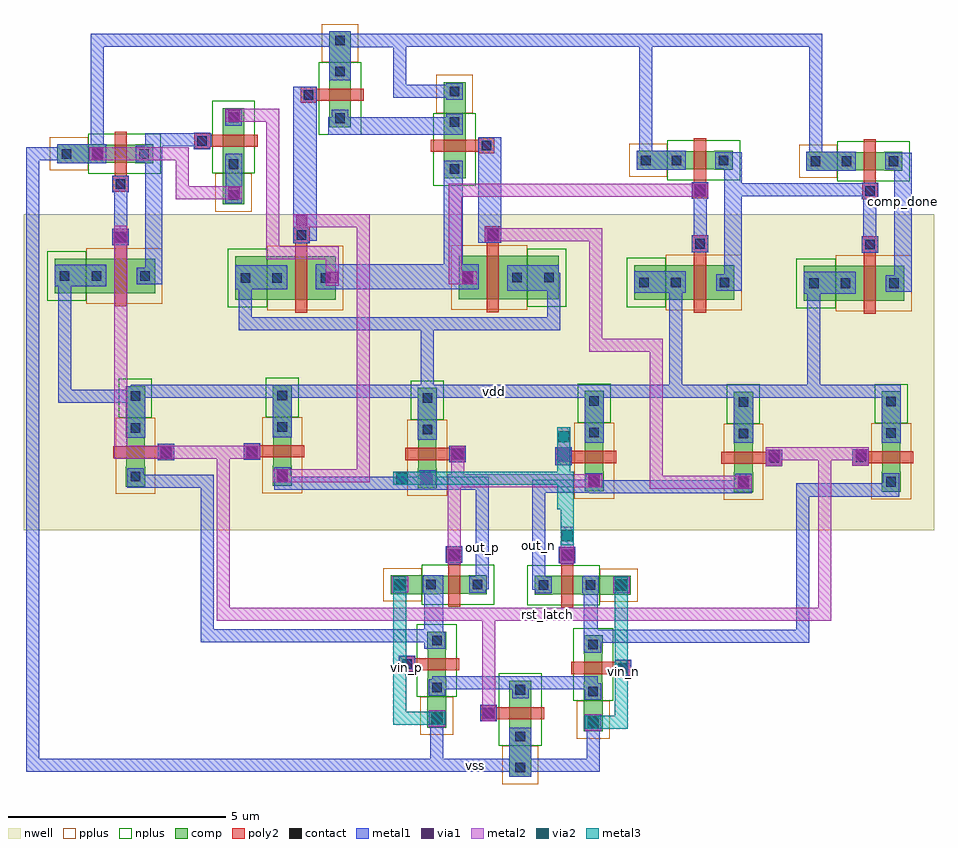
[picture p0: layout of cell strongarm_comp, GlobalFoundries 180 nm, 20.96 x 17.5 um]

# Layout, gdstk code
from math import pi, radians
import gdstk
lib = gdstk.Library(unit=1e-6, precision=5e-09)
def R(c, l, rs):  # rectangles x0, y0, x1, y1
    for r in rs: c.add(gdstk.rectangle(r[:2], r[2:], *l))
nwell = (21, 0)
comp = (22, 0)
poly2 = (30, 0)
pplus = (31, 0)
nplus = (32, 0)
contact = (33, 0)
metal1 = (34, 0)
via1 = (35, 0)
metal2 = (36, 0)
via2 = (38, 0)
metal3 = (42, 0)

comp_nfet_6 = lib.new_cell('comp_nfet$6')
R(comp_nfet_6, comp, [(-0.42,0,0,0.5), (0,0,0.66,0.5), (0.66,0,1.08,0.5), (1.08,0,1.79,0.5)])
R(comp_nfet_6, poly2, [(0.15,-0.66,0.51,-0.3), (0.19,-0.3,0.47,0.8)])
R(comp_nfet_6, pplus, [(1.08,-0.17,1.96,0.67)])
R(comp_nfet_6, nplus, [(-0.59,-0.24,1.08,0.74)])
R(comp_nfet_6, contact, [(0.22,-0.59,0.44,-0.37), (-0.32,0.14,-0.1,0.36), (0.76,0.14,0.98,0.36), (1.47,0.14,1.69,0.36)])
R(comp_nfet_6, metal1, [(0.14,-0.67,0.52,-0.29), (-0.4,0.06,-0.02,0.44), (0.68,0.06,1.06,0.44), (1.39,0.06,1.77,0.44)])

comp_pfet_1 = lib.new_cell('comp_pfet$1')
R(comp_pfet_1, nwell, [(-1.16,-0.71,2.55,1.13)])
R(comp_pfet_1, comp, [(-0.46,-0.01,0,0.43), (0.66,-0.01,1.12,0.43), (1.12,-0.01,1.85,0.43), (0,0,0.66,0.42)])
R(comp_pfet_1, poly2, [(0.14,-0.68,0.52,-0.3), (0.19,-0.3,0.47,0.72)])
R(comp_pfet_1, pplus, [(-0.63,-0.25,1.12,0.67)])
R(comp_pfet_1, nplus, [(1.12,-0.17,2.02,0.59)])
R(comp_pfet_1, contact, [(0.22,-0.6,0.44,-0.38), (-0.34,0.1,-0.12,0.32), (0.78,0.1,1,0.32), (1.51,0.1,1.73,0.32)])
R(comp_pfet_1, metal1, [(0.14,-0.68,0.52,-0.3), (-0.42,0.02,-0.04,0.4), (0.7,0.02,1.08,0.4), (1.43,0.02,1.81,0.4)])

comp_pfet = lib.new_cell('comp_pfet')
R(comp_pfet, nwell, [(-1.16,-0.71,2.55,1.13)])
R(comp_pfet, comp, [(-0.46,-0.01,0,0.43), (0.66,-0.01,1.12,0.43), (1.12,-0.01,1.85,0.43), (0,0,0.66,0.42)])
R(comp_pfet, poly2, [(0.19,-0.3,0.47,0.72), (0.14,0.72,0.52,1.1)])
R(comp_pfet, pplus, [(-0.63,-0.25,1.12,0.67)])
R(comp_pfet, nplus, [(1.12,-0.17,2.02,0.59)])
R(comp_pfet, contact, [(-0.34,0.1,-0.12,0.32), (0.78,0.1,1,0.32), (1.51,0.1,1.73,0.32), (0.22,0.8,0.44,1.02)])
R(comp_pfet, metal1, [(-0.42,0.02,-0.04,0.4), (0.7,0.02,1.08,0.4), (1.43,0.02,1.81,0.4), (0.14,0.72,0.52,1.1)])

comp_nfet = lib.new_cell('comp_nfet')
R(comp_nfet, comp, [(-0.42,0,0,0.5), (0,0,0.66,0.5), (0.66,0,1.08,0.5), (1.08,0,1.79,0.5)])
R(comp_nfet, poly2, [(0.15,-0.66,0.51,-0.3), (0.19,-0.3,0.47,0.8)])
R(comp_nfet, pplus, [(1.08,-0.17,1.96,0.67)])
R(comp_nfet, nplus, [(-0.59,-0.24,1.08,0.74)])
R(comp_nfet, contact, [(0.22,-0.59,0.44,-0.37), (-0.32,0.14,-0.1,0.36), (0.76,0.14,0.98,0.36), (1.47,0.14,1.69,0.36)])
R(comp_nfet, metal1, [(0.14,-0.67,0.52,-0.29), (-0.4,0.06,-0.02,0.44), (0.68,0.06,1.06,0.44), (1.39,0.06,1.77,0.44)])

comp_nfet_1 = lib.new_cell('comp_nfet$1')
R(comp_nfet_1, comp, [(-0.42,-0.01,0,0.43), (0.66,-0.01,1.08,0.43), (1.08,-0.01,1.79,0.43), (0,0,0.66,0.42)])
R(comp_nfet_1, poly2, [(0.19,-0.3,0.47,0.72), (0.15,0.72,0.51,1.08)])
R(comp_nfet_1, pplus, [(1.08,-0.17,1.96,0.59)])
R(comp_nfet_1, nplus, [(-0.59,-0.25,1.08,0.67)])
R(comp_nfet_1, contact, [(-0.32,0.1,-0.1,0.32), (0.76,0.1,0.98,0.32), (1.47,0.1,1.69,0.32), (0.22,0.79,0.44,1.01)])
R(comp_nfet_1, metal1, [(-0.4,0.02,-0.02,0.4), (0.68,0.02,1.06,0.4), (1.39,0.02,1.77,0.4), (0.14,0.71,0.52,1.09)])

comp_nfet_2 = lib.new_cell('comp_nfet$2')
R(comp_nfet_2, comp, [(-0.42,-0.01,0,0.43), (0.66,-0.01,1.08,0.43), (1.08,-0.01,1.79,0.43), (0,0,0.66,0.42)])
R(comp_nfet_2, poly2, [(0.15,-0.66,0.51,-0.3), (0.19,-0.3,0.47,0.72)])
R(comp_nfet_2, pplus, [(1.08,-0.17,1.96,0.59)])
R(comp_nfet_2, nplus, [(-0.59,-0.25,1.08,0.67)])
R(comp_nfet_2, contact, [(0.22,-0.59,0.44,-0.37), (-0.32,0.1,-0.1,0.32), (0.76,0.1,0.98,0.32), (1.47,0.1,1.69,0.32)])
R(comp_nfet_2, metal1, [(0.14,-0.67,0.52,-0.29), (-0.4,0.02,-0.02,0.4), (0.68,0.02,1.06,0.4), (1.39,0.02,1.77,0.4)])

comp_strongarm_comp_core = lib.new_cell('comp_strongarm_comp_core')
R(comp_strongarm_comp_core, metal1, [(-0.13,-2.89,0.37,-1.76), (1.58,0.01,1.9,1.74), (-2.09,0.05,-1.65,1.75), (0.93,4.61,1.31,4.69), (1.6,4.8,2.04,5.99), (5.04,4.8,5.48,5.99), (8.44,4.8,8.88,5.99), (-2.24,4.87,-1.8,6.06), (-8.95,4.91,-8.51,6.1), (-5.58,4.92,-5.14,6.11)])
R(comp_strongarm_comp_core, via1, [(1.67,-1.77,1.93,-1.51), (-1.93,-1.68,-1.67,-1.42), (-0.74,-1.56,-0.48,-1.3), (2.32,1.39,2.58,1.65), (-2.78,1.4,-2.52,1.66), (-1.53,2.08,-1.27,2.34), (1.07,2.08,1.33,2.34), (1.69,3.79,1.95,4.05), (-2.17,3.85,-1.91,4.11), (5.84,4.36,6.1,4.62), (7.84,4.39,8.1,4.65), (-1.45,4.41,-1.19,4.67), (0.99,4.42,1.25,4.68), (-8.17,4.45,-7.91,4.71), (-6.19,4.45,-5.93,4.71)])
R(comp_strongarm_comp_core, metal2, [(1.61,-1.83,1.99,-1.45), (-1.99,-1.74,-1.61,-1.36), (2.26,1.33,2.64,1.71), (-2.84,1.34,-2.46,1.72), (-2.8,3.83,-1.83,4.13), (5.77,4.26,6.15,4.53), (7.77,4.27,8.15,4.54)])
R(comp_strongarm_comp_core, via2, [(1.67,-1.77,1.93,-1.51), (-1.93,-1.68,-1.67,-1.42), (2.32,1.39,2.58,1.65), (-2.78,1.4,-2.52,1.66), (1.07,2.535,1.33,2.795), (-2.73,3.85,-2.47,4.11), (0.99,4.805,1.25,5.065)])
comp_strongarm_comp_core.add(gdstk.FlexPath([(-1.8,-1.44),(-1.8,-2.63),(1.8,-2.63),(1.8,-1.53),(1.8,-1.53),(1.8,-1.53)], 0.3, ends="flush", simple_path=True, layer=34, datatype=0))  # metal1
comp_strongarm_comp_core.add(gdstk.FlexPath([(1.93,3.8),(0.55,3.8),(0.55,1.41)], 0.3, ends="flush", simple_path=True, layer=34, datatype=0))  # metal1
comp_strongarm_comp_core.add(gdstk.FlexPath([(-2.21,3.86),(-0.75,3.86),(-0.75,1.42)], 0.3, ends="flush", simple_path=True, layer=34, datatype=0))  # metal1
comp_strongarm_comp_core.add(gdstk.FlexPath([(-1.91,-0.73),(1.91,-0.73)], 0.3, ends="flush", simple_path=True, layer=34, datatype=0))  # metal1
comp_strongarm_comp_core.add(gdstk.FlexPath([(-1.9,3.86),(-5.55,3.86)], 0.3, ends="flush", simple_path=True, layer=34, datatype=0))  # metal1
comp_strongarm_comp_core.add(gdstk.FlexPath([(5.45,3.78),(1.71,3.78)], 0.3, ends="flush", simple_path=True, layer=34, datatype=0))  # metal1
comp_strongarm_comp_core.add(gdstk.FlexPath([(-8.93,3.91),(-7.09,3.91),(-7.09,0.35),(-1.69,0.35)], 0.3, ends="flush", simple_path=True, layer=34, datatype=0))  # metal1
comp_strongarm_comp_core.add(gdstk.FlexPath([(8.85,3.71),(6.62,3.71),(6.62,0.34),(1.61,0.34)], 0.3, ends="flush", simple_path=True, layer=34, datatype=0))  # metal1
comp_strongarm_comp_core.add(gdstk.FlexPath([(-8.85,5.98),(8.88,5.98)], 0.3, ends="flush", simple_path=True, layer=34, datatype=0))  # metal1
comp_strongarm_comp_core.add(gdstk.FlexPath([(-1.4,2),(-1.4,3.92),(1.95,3.92),(2.01,3.92)], 0.3, ends="flush", simple_path=True, layer=36, datatype=0))  # metal2
comp_strongarm_comp_core.add(gdstk.FlexPath([(1.2,2),(1.2,2.86)], 0.3, ends="flush", simple_path=True, layer=36, datatype=0))  # metal2
comp_strongarm_comp_core.add(gdstk.FlexPath([(-1.32,4.73),(-1.32,3.8)], 0.3, ends="flush", simple_path=True, layer=36, datatype=0))  # metal2
comp_strongarm_comp_core.add(gdstk.FlexPath([(1.12,5.15),(1.12,4.36)], 0.3, ends="flush", simple_path=True, layer=36, datatype=0))  # metal2
comp_strongarm_comp_core.add(gdstk.FlexPath([(-8.23,4.58),(-5.87,4.58)], 0.3, ends="flush", simple_path=True, layer=36, datatype=0))  # metal2
comp_strongarm_comp_core.add(gdstk.FlexPath([(-0.61,-1.62),(-0.61,0.85),(-6.72,0.85),(-6.72,4.73)], 0.3, ends="flush", simple_path=True, layer=36, datatype=0))  # metal2
comp_strongarm_comp_core.add(gdstk.FlexPath([(5.77,4.54),(8.15,4.54)], 0.3, ends="flush", simple_path=True, layer=36, datatype=0))  # metal2
comp_strongarm_comp_core.add(gdstk.FlexPath([(-0.76,0.85),(7.13,0.85),(7.13,4.69),(7.13,4.69),(7.13,4.69)], 0.3, ends="flush", simple_path=True, layer=36, datatype=0))  # metal2
comp_strongarm_comp_core.add(gdstk.FlexPath([(1.2,2.44),(1.2,3.98),(-2.8,3.98)], 0.3, ends="flush", simple_path=True, layer=42, datatype=0))  # metal3
comp_strongarm_comp_core.add(gdstk.FlexPath([(1.12,5.15),(1.12,3.27)], 0.3, ends="flush", simple_path=True, layer=42, datatype=0))  # metal3
comp_strongarm_comp_core.add(gdstk.FlexPath([(-2.65,1.72),(-2.65,-1.55),(-1.61,-1.55)], 0.3, ends="flush", simple_path=True, layer=42, datatype=0))  # metal3
comp_strongarm_comp_core.add(gdstk.FlexPath([(2.45,1.71),(2.45,-1.64),(1.61,-1.64)], 0.3, ends="flush", simple_path=True, layer=42, datatype=0))  # metal3
comp_strongarm_comp_core.add(gdstk.Reference(comp_pfet_1, (-1.81,4.21), rotation=pi/2))
comp_strongarm_comp_core.add(gdstk.Reference(comp_pfet_1, (-8.53,4.25), rotation=pi/2))
comp_strongarm_comp_core.add(gdstk.Reference(comp_pfet_1, (5.47,4.12), rotation=pi/2))
comp_strongarm_comp_core.add(gdstk.Reference(comp_pfet, (2.03,4.14), rotation=pi/2))
comp_strongarm_comp_core.add(gdstk.Reference(comp_pfet, (-5.15,4.27), rotation=pi/2))
comp_strongarm_comp_core.add(gdstk.Reference(comp_pfet, (8.87,4.13), rotation=pi/2))
comp_strongarm_comp_core.add(gdstk.Reference(comp_nfet, (-0.13,-1.1), rotation=3*pi/2))
comp_strongarm_comp_core.add(gdstk.Reference(comp_nfet_1, (0.87,1.31)))
comp_strongarm_comp_core.add(gdstk.Reference(comp_nfet_1, (1.59,-0.06), rotation=3*pi/2))
comp_strongarm_comp_core.add(gdstk.Reference(comp_nfet_2, (-1.07,1.74), rotation=pi))
comp_strongarm_comp_core.add(gdstk.Reference(comp_nfet_2, (-2.01,0.03), rotation=3*pi/2))
comp_strongarm_comp_core.add(gdstk.Label('vdd', (-0.05,5.98), layer=34, texttype=10))
comp_strongarm_comp_core.add(gdstk.Label('out_p', (-0.75,2.89), layer=34, texttype=10))
comp_strongarm_comp_core.add(gdstk.Label('out_n', (0.55,2.9), layer=34, texttype=10))
comp_strongarm_comp_core.add(gdstk.Label('vin_p', (-2.49,-0.3), layer=34, texttype=10))
comp_strongarm_comp_core.add(gdstk.Label('vin_n', (2.49,-0.39), layer=34, texttype=10))
comp_strongarm_comp_core.add(gdstk.Label('vss', (0.69,-2.63), layer=34, texttype=10))
comp_strongarm_comp_core.add(gdstk.Label('rst_latch', (-0.18,0.85), layer=36, texttype=10))

comp_pfet_1_1 = lib.new_cell('comp_pfet$1$1')
R(comp_pfet_1_1, nwell, [(-1.15,-0.69,2.54,1.69)])
R(comp_pfet_1_1, comp, [(-0.46,0,0,1), (0,0,0.66,1), (0.66,0,1.12,1), (1.12,0,1.85,1)])
R(comp_pfet_1_1, poly2, [(0.14,-0.68,0.52,-0.3), (0.19,-0.3,0.47,1.3)])
R(comp_pfet_1_1, pplus, [(-0.63,-0.24,1.12,1.24)])
R(comp_pfet_1_1, nplus, [(1.12,-0.17,2.02,1.17)])
R(comp_pfet_1_1, contact, [(0.22,-0.6,0.44,-0.38), (-0.34,0.39,-0.12,0.61), (0.78,0.39,1,0.61), (1.51,0.39,1.73,0.61)])
R(comp_pfet_1_1, metal1, [(0.14,-0.68,0.52,-0.3), (-0.42,0.31,-0.04,0.69), (0.7,0.31,1.08,0.69), (1.43,0.31,1.81,0.69)])

comp_nfet_3 = lib.new_cell('comp_nfet$3')
R(comp_nfet_3, comp, [(-0.42,0,0,0.5), (0,0,0.66,0.5), (0.66,0,1.08,0.5), (1.08,0,1.79,0.5)])
R(comp_nfet_3, poly2, [(0.19,-0.3,0.47,0.8), (0.15,0.8,0.51,1.16)])
R(comp_nfet_3, pplus, [(1.08,-0.17,1.96,0.67)])
R(comp_nfet_3, nplus, [(-0.59,-0.24,1.08,0.74)])
R(comp_nfet_3, contact, [(-0.32,0.14,-0.1,0.36), (0.76,0.14,0.98,0.36), (1.47,0.14,1.69,0.36), (0.22,0.87,0.44,1.09)])
R(comp_nfet_3, metal1, [(-0.4,0.06,-0.02,0.44), (0.68,0.06,1.06,0.44), (1.39,0.06,1.77,0.44), (0.14,0.79,0.52,1.17)])

comp_nfet_4 = lib.new_cell('comp_nfet$4')
R(comp_nfet_4, comp, [(-0.42,0,0,0.5), (0,0,0.66,0.5), (0.66,0,1.08,0.5), (1.08,0,1.79,0.5)])
R(comp_nfet_4, poly2, [(0.15,-0.66,0.51,-0.3), (0.19,-0.3,0.47,0.8)])
R(comp_nfet_4, pplus, [(1.08,-0.17,1.96,0.67)])
R(comp_nfet_4, nplus, [(-0.59,-0.24,1.08,0.74)])
R(comp_nfet_4, contact, [(0.22,-0.59,0.44,-0.37), (-0.32,0.14,-0.1,0.36), (0.76,0.14,0.98,0.36), (1.47,0.14,1.69,0.36)])
R(comp_nfet_4, metal1, [(0.14,-0.67,0.52,-0.29), (-0.4,0.06,-0.02,0.44), (0.68,0.06,1.06,0.44), (1.39,0.06,1.77,0.44)])

comp_pfet_2 = lib.new_cell('comp_pfet$2')
R(comp_pfet_2, nwell, [(-1.15,-0.69,2.54,1.69)])
R(comp_pfet_2, comp, [(-0.46,0,0,1), (0,0,0.66,1), (0.66,0,1.12,1), (1.12,0,1.85,1)])
R(comp_pfet_2, poly2, [(0.19,-0.3,0.47,1.3), (0.14,1.3,0.52,1.68)])
R(comp_pfet_2, pplus, [(-0.63,-0.24,1.12,1.24)])
R(comp_pfet_2, nplus, [(1.12,-0.17,2.02,1.17)])
R(comp_pfet_2, contact, [(-0.34,0.39,-0.12,0.61), (0.78,0.39,1,0.61), (1.51,0.39,1.73,0.61), (0.22,1.38,0.44,1.6)])
R(comp_pfet_2, metal1, [(-0.42,0.31,-0.04,0.69), (0.7,0.31,1.08,0.69), (1.43,0.31,1.81,0.69), (0.14,1.3,0.52,1.68)])

comp_async_nand2 = lib.new_cell('comp_async_nand2')
R(comp_async_nand2, metal1, [(1.32,-3.47,1.82,-2.34), (2.11,-2.2,2.65,1.35), (-1.26,-1.49,1.84,-1.09), (-2.14,-1.03,-1.61,1.4), (-1.26,-0.49,-0.82,2.39), (-1.62,1.89,2.13,2.47), (-3.47,1.91,-2.28,2.5), (2.79,1.92,3.98,2.47)])
comp_async_nand2.add(gdstk.FlexPath([(-3.35,2.09),(-3.35,3.26),(3.75,3.26),(3.75,2.1),(3.75,2.1)], 0.3, ends="flush", simple_path=True, layer=34, datatype=0))  # metal1
comp_async_nand2.add(gdstk.FlexPath([(-1.18,-2.09),(0.2,-2.09),(0.2,-3.26),(1.68,-3.26),(1.68,-3.26)], 0.3, ends="flush", simple_path=True, layer=34, datatype=0))  # metal1
comp_async_nand2.add(gdstk.Reference(comp_pfet_1_1, (2.13,1.71)))
comp_async_nand2.add(gdstk.Reference(comp_nfet_3, (1.32,-1.68), rotation=3*pi/2))
comp_async_nand2.add(gdstk.Reference(comp_nfet_4, (-1.32,-0.51), rotation=3*pi/2))
comp_async_nand2.add(gdstk.Reference(comp_pfet_2, (-1.62,2.7), rotation=pi))
comp_async_nand2.add(gdstk.Label('input_A', (-1.97,0.32), layer=34, texttype=10))
comp_async_nand2.add(gdstk.Label('input_B', (2.29,-0.01), layer=34, texttype=10))
comp_async_nand2.add(gdstk.Label('output', (0.09,2.13), layer=34, texttype=10))
comp_async_nand2.add(gdstk.Label('vdd', (0.02,3.26), layer=34, texttype=10))
comp_async_nand2.add(gdstk.Label('vss', (0.17,-2.92), layer=34, texttype=10))

comp_comp_nand_3v3 = lib.new_cell('comp_comp_nand_3v3')
comp_comp_nand_3v3.add(gdstk.Reference(comp_async_nand2, (0,0)))
comp_comp_nand_3v3.add(gdstk.Label('a', (-1.89,0.02), layer=34, texttype=10))
comp_comp_nand_3v3.add(gdstk.Label('b', (2.38,-0.425), layer=34, texttype=10))
comp_comp_nand_3v3.add(gdstk.Label('vss', (0.2,-2.35), layer=34, texttype=10))
comp_comp_nand_3v3.add(gdstk.Label('y', (0.68,2.21), layer=34, texttype=10))
comp_comp_nand_3v3.add(gdstk.Label('vdd', (0.51,3.26), layer=34, texttype=10))

comp_nfet_5 = lib.new_cell('comp_nfet$5')
R(comp_nfet_5, comp, [(-0.42,-0.01,0,0.43), (0.66,-0.01,1.08,0.43), (1.08,-0.01,1.79,0.43), (0,0,0.66,0.42)])
R(comp_nfet_5, poly2, [(0.19,-0.3,0.47,0.72), (0.15,0.72,0.51,1.08)])
R(comp_nfet_5, pplus, [(1.08,-0.17,1.96,0.59)])
R(comp_nfet_5, nplus, [(-0.59,-0.25,1.08,0.67)])
R(comp_nfet_5, contact, [(-0.32,0.1,-0.1,0.32), (0.76,0.1,0.98,0.32), (1.47,0.1,1.69,0.32), (0.22,0.79,0.44,1.01)])
R(comp_nfet_5, metal1, [(-0.4,0.02,-0.02,0.4), (0.68,0.02,1.06,0.4), (1.39,0.02,1.77,0.4), (0.14,0.71,0.52,1.09)])

comp_pfet_3 = lib.new_cell('comp_pfet$3')
R(comp_pfet_3, nwell, [(-1.15,-0.69,2.54,1.49)])
R(comp_pfet_3, comp, [(-0.46,0,0,0.8), (0,0,0.66,0.8), (0.66,0,1.12,0.8), (1.12,0,1.85,0.8)])
R(comp_pfet_3, poly2, [(0.14,-0.68,0.52,-0.3), (0.19,-0.3,0.47,1.1)])
R(comp_pfet_3, pplus, [(-0.63,-0.24,1.12,1.04)])
R(comp_pfet_3, nplus, [(1.12,-0.17,2.02,0.97)])
R(comp_pfet_3, contact, [(0.22,-0.6,0.44,-0.38), (-0.34,0.29,-0.12,0.51), (0.78,0.29,1,0.51), (1.51,0.29,1.73,0.51)])
R(comp_pfet_3, metal1, [(0.14,-0.68,0.52,-0.3), (-0.42,0.21,-0.04,0.59), (0.7,0.21,1.08,0.59), (1.43,0.21,1.81,0.59)])

comp_comp_inv_3v3 = lib.new_cell('comp_comp_inv_3v3')
R(comp_comp_inv_3v3, metal1, [(0.34,-1.42,1.47,-0.98), (-0.95,-1.39,-0.55,1.8), (0.34,1.35,1.53,1.85)])
comp_comp_inv_3v3.add(gdstk.FlexPath([(0.01,0.83),(0.01,-0.62),(0.01,-0.62)], 0.3, ends="flush", simple_path=True, layer=34, datatype=0))  # metal1
comp_comp_inv_3v3.add(gdstk.Reference(comp_nfet_5, (-0.32,-1.41)))
comp_comp_inv_3v3.add(gdstk.Reference(comp_pfet_3, (-0.32,1.21)))
comp_comp_inv_3v3.add(gdstk.Label('vo', (-0.75,0.01), layer=34, texttype=10))
comp_comp_inv_3v3.add(gdstk.Label('vi', (0.01,0.02), layer=34, texttype=10))
comp_comp_inv_3v3.add(gdstk.Label('vdd', (0.935,1.6), layer=34, texttype=10))
comp_comp_inv_3v3.add(gdstk.Label('vss', (0.905,-1.2), layer=34, texttype=10))

strongarm_comp = lib.new_cell('strongarm_comp')
R(strongarm_comp, nwell, [(-20.94,5.9,0.02,13.18)])
R(strongarm_comp, metal1, [(-16.29,13.48,-15.91,14.57)])
R(strongarm_comp, via1, [(-4.5,6.88,-4.24,7.14), (-15.12,7.03,-14.86,7.29), (-10.85,11.59,-10.59,11.85), (-13.97,11.595,-13.71,11.855), (-18.84,12.52,-18.58,12.78), (-10.27,12.58,-10.01,12.84), (-14.67,12.91,-14.41,13.17), (-16.23,13.54,-15.97,13.8), (-5.5,13.6,-5.24,13.86), (-19.375,14.44,-19.115,14.7), (-16.23,15.33,-15.97,15.59)])
strongarm_comp.add(gdstk.FlexPath([(-4.64,13.74),(-1.28,13.74)], 0.3, ends="flush", simple_path=True, layer=34, datatype=0))  # metal1
strongarm_comp.add(gdstk.FlexPath([(-20,11.95),(-20,8.99),(-18.18,8.99)], 0.3, ends="flush", simple_path=True, layer=34, datatype=0))  # metal1
strongarm_comp.add(gdstk.FlexPath([(-11.65,8.84),(-11.65,10.78)], 0.3, ends="flush", simple_path=True, layer=34, datatype=0))  # metal1
strongarm_comp.add(gdstk.FlexPath([(-5.93,11.72),(-5.93,8.95)], 0.3, ends="flush", simple_path=True, layer=34, datatype=0))  # metal1
strongarm_comp.add(gdstk.FlexPath([(-2.75,11.7),(-2.75,8.95)], 0.3, ends="flush", simple_path=True, layer=34, datatype=0))  # metal1
strongarm_comp.add(gdstk.FlexPath([(-11.28,0.49),(-20.74,0.49),(-20.74,14.57),(-19.815,14.57)], 0.3, ends="flush", simple_path=True, layer=34, datatype=0))  # metal1
strongarm_comp.add(gdstk.FlexPath([(-19.25,14.46),(-19.25,17.19),(-2.71,17.19),(-2.71,14.29)], 0.3, ends="flush", simple_path=True, layer=34, datatype=0))  # metal1
strongarm_comp.add(gdstk.FlexPath([(-6.62,14.23),(-6.62,17.34)], 0.3, ends="flush", simple_path=True, layer=34, datatype=0))  # metal1
strongarm_comp.add(gdstk.FlexPath([(-18,14.36),(-18,14.9),(-16.63,14.9)], 0.3, ends="flush", simple_path=True, layer=34, datatype=0))  # metal1
strongarm_comp.add(gdstk.FlexPath([(-10.51,11.72),(-11.01,11.72),(-11.01,13.73),(-5.18,13.73)], 0.3, ends="flush", simple_path=True, layer=36, datatype=0))  # metal2
strongarm_comp.add(gdstk.FlexPath([(-19.44,14.57),(-17.29,14.57),(-17.29,13.67),(-15.91,13.67)], 0.3, ends="flush", simple_path=True, layer=36, datatype=0))  # metal2
strongarm_comp.add(gdstk.FlexPath([(-10.33,12.71),(-7.77,12.71),(-7.77,10.16),(-6.38,10.16),(-6.38,7.01),(-4.18,7.01)], 0.3, ends="flush", simple_path=True, layer=36, datatype=0))  # metal2
strongarm_comp.add(gdstk.FlexPath([(-17.38,7.7),(-18.71,7.7),(-18.71,12.91),(-18.71,12.91)], 0.3, ends="flush", simple_path=True, layer=36, datatype=0))  # metal2
strongarm_comp.add(gdstk.FlexPath([(-16.29,15.46),(-15.21,15.46),(-15.21,12.29),(-13.84,12.29),(-13.84,11.53)], 0.3, ends="flush", simple_path=True, layer=36, datatype=0))  # metal2
strongarm_comp.add(gdstk.FlexPath([(-15.21,7.16),(-13.12,7.16),(-13.12,13.03),(-14.74,13.03)], 0.3, ends="flush", simple_path=True, layer=36, datatype=0))  # metal2
strongarm_comp.add(gdstk.Reference(comp_nfet_6, (-16.36,15.2), rotation=3*pi/2))
strongarm_comp.add(gdstk.Reference(comp_strongarm_comp_core, (-9.63,3.12)))
strongarm_comp.add(gdstk.Reference(comp_comp_nand_3v3, (-12.09,13.92), rotation=pi))
strongarm_comp.add(gdstk.Reference(comp_comp_inv_3v3, (-18.7,13.37), rotation=pi))
strongarm_comp.add(gdstk.Reference(comp_comp_inv_3v3, (-5.36,13.22), rotation=pi))
strongarm_comp.add(gdstk.Reference(comp_comp_inv_3v3, (-1.45,13.2), rotation=pi))
strongarm_comp.add(gdstk.Label('comp_done', (-0.71,13.47), layer=34, texttype=10))
strongarm_comp.add(gdstk.Label('out_n', (-9.08,5.55), layer=34, texttype=10))
strongarm_comp.add(gdstk.Label('out_p', (-10.38,5.51), layer=34, texttype=10))
strongarm_comp.add(gdstk.Label('vdd', (-10.11,9.1), layer=34, texttype=10))
strongarm_comp.add(gdstk.Label('vss', (-10.54,0.49), layer=34, texttype=10))
strongarm_comp.add(gdstk.Label('vin_p', (-12.13,2.75), layer=34, texttype=10))
strongarm_comp.add(gdstk.Label('vin_n', (-7.13,2.66), layer=34, texttype=10))
strongarm_comp.add(gdstk.Label('rst_latch', (-8.88,3.97), layer=36, texttype=10))

lib.write_gds('strongarm_comp.gds')
